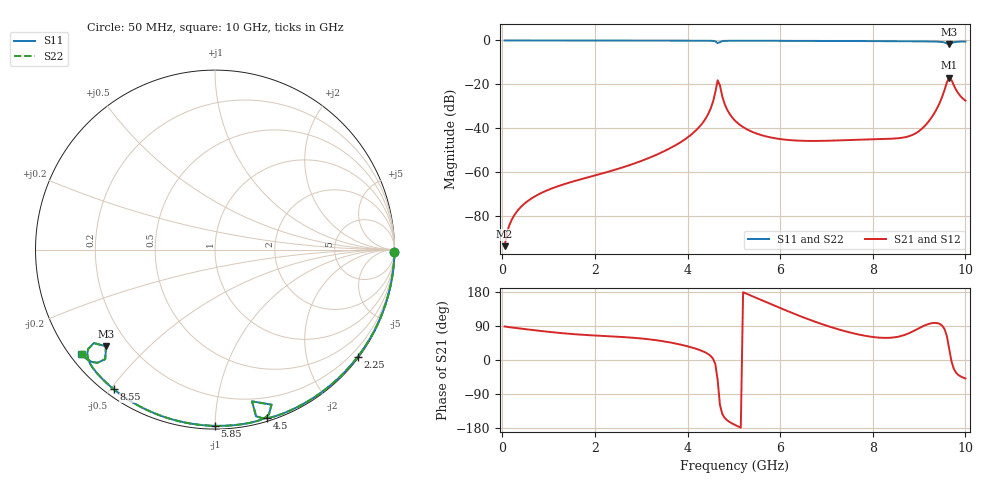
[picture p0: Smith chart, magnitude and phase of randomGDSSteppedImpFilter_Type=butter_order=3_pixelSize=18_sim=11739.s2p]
! freq	dB(S11)	phase(S11)	dB(S12)	phase(S12)
!  dB(S21)	phase(S21)	dB(S22)	phase(S22)
!S-par simulation data
#  GHz  S  DB  R 50
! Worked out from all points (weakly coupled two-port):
!   200 points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, 50 MHz to 10 GHz, reference 50 ohm
!   highest |S21| = -16.93 dB at 9.65 GHz (marker M1); lowest = -93.6 dB at 50 MHz (marker M2)
!   lowest |S11| = -1.8 dB at 9.65 GHz (marker M3), VSWR 9.62, Z = 5.94 - j18.8 ohm
!   |S11| at or under -10 dB: nowhere
!   |S22| runs from -1.8 to 0.0 dB; largest |S21 - S12| = 0
!   S11 on the Smith chart (normalised r, x): 50 MHz: open; 2.25 GHz: 0.03, -3.00; 4.5 GHz: 0.02, -1.35; 5.85 GHz: 0.02, -1.00; 8.55 GHz: 0.03, -0.51; 10 GHz: 0.03, -0.34
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0.05  -0.00 -0.8  -93.62 88.6  -93.62 88.6  -0.00 -0.8
0.25  -0.00 -4.2  -79.83 85.1  -79.83 85.1  -0.00 -4.2
0.85  -0.02 -14.2  -69.33 76.3  -69.33 76.3  -0.02 -14.2
1.75  -0.04 -28.9  -62.87 66.4  -62.87 66.4  -0.04 -28.9
2.25  -0.05 -36.9  -59.98 63.0  -59.98 63.0  -0.05 -36.9
3.4  -0.07 -55.0  -51.35 50.9  -51.35 50.9  -0.07 -54.9
4.1  -0.09 -65.8  -42.48 32.8  -42.48 32.8  -0.09 -65.8
4.5  -0.15 -72.9  -30.96 10.7  -30.96 10.7  -0.15 -72.8
4.65  -1.21 -76.3  -18.12 -52.6  -18.12 -52.6  -1.20 -76.3
4.7  -0.73 -70.0  -20.44 -118.3  -20.44 -118.3  -0.73 -70.0
4.85  -0.17 -74.7  -31.26 -158.5  -31.26 -158.5  -0.16 -74.7
5.05  -0.14 -78.3  -36.97 -172.9  -36.97 -172.9  -0.14 -78.3
5.85  -0.16 -90.0  -44.37 144.9  -44.37 144.9  -0.16 -90.0
6.7  -0.20 -101.6  -45.73 103.4  -45.73 103.4  -0.20 -101.6
8.35  -0.33 -123.3  -44.76 58.5  -44.76 58.5  -0.33 -123.3
8.55  -0.35 -126.0  -44.50 61.4  -44.50 61.4  -0.35 -126.0
8.9  -0.39 -130.7  -42.55 77.7  -42.55 77.7  -0.39 -130.6
9.2  -0.45 -135.0  -37.05 94.9  -37.05 94.9  -0.45 -134.9
9.4  -0.55 -138.4  -30.41 97.3  -30.41 97.3  -0.55 -138.4
9.65  -1.81 -138.4  -16.93 30.0  -16.93 30.0  -1.80 -138.4
9.75  -0.82 -136.1  -20.41 -23.3  -20.41 -23.3  -0.82 -136.1
10  -0.51 -142.1  -27.37 -48.7  -27.37 -48.7  -0.51 -142.0
